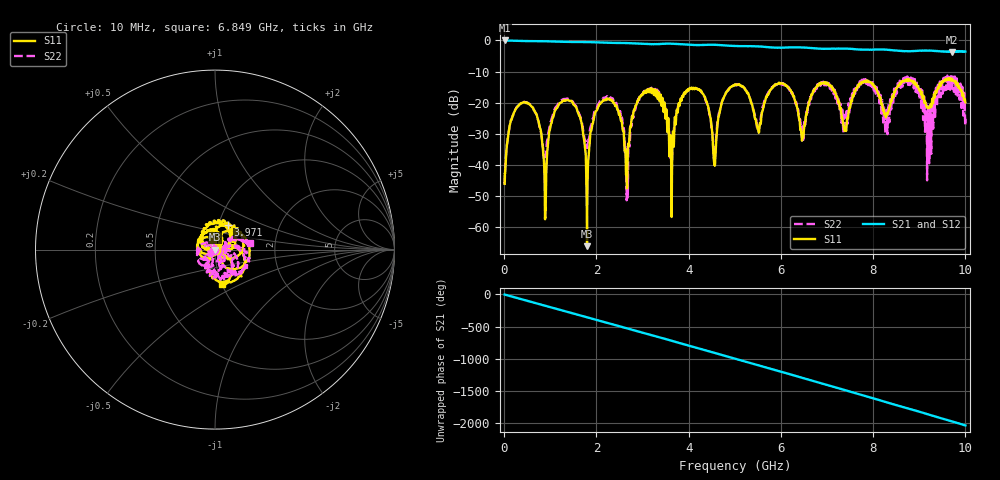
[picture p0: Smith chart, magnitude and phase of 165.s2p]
!Keysight Technologies,E5080B,MY59205177,A.15.75.32
!Date: Friday, February 23, 2024 03:42:39
!Correction: S11(Cdelta 2-Port  )
!S21(Cdelta 2-Port  )
!S12(Cdelta 2-Port  )
!S22(Cdelta 2-Port  )
!S2P File: Measurements: S11, S21, S12, S22:
# Hz S  dB  R 50
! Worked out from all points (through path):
!   10001 points, 10 MHz to 10 GHz, reference 50 ohm
!   highest |S21| = -0.01 dB at 10 MHz (marker M1); lowest = -3.7 dB at 9.701 GHz (marker M2)
!   group delay of S21, straight-line fit = 566 ps
!   lowest |S11| = -66.2 dB at 1.797 GHz (marker M3), VSWR 1.00, Z = 50 + j0.0489 ohm
!   |S11| at or under -10 dB: start of sweep to end of sweep
!   |S22| runs from -51.4 to -11.1 dB; largest |S21 - S12| = 0.0015
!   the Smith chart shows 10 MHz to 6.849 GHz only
!   S11 on the Smith chart (normalised r, x): 10 MHz: 1.01, -0.00; 3.971 GHz: 1.11, +0.31; 6.849 GHz: 0.99, -0.41
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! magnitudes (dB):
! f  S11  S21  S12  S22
! 10 MHz  -46.1  0.0  0.0  -45.9
! 372.6 MHz  -20.1  -0.2  -0.2  -20.1
! 888.1 MHz  -56.8  -0.3  -0.3  -37.3
! 1.175 GHz  -20.8  -0.4  -0.4  -20.3
! 1.675 GHz  -26.3  -0.5  -0.5  -25.7
! 1.797 GHz  -66.2  -0.5  -0.5  -33.5
! 2.108 GHz  -19.8  -0.7  -0.7  -19.0
! 2.664 GHz  -47.6  -0.9  -0.9  -43.2
! 2.907 GHz  -19.3  -1.0  -1.0  -18.8
! 3.341 GHz  -17.5  -1.1  -1.1  -17.6
! 3.627 GHz  -47.0  -1.1  -1.1  -41.6
! 3.971 GHz  -16.3  -1.3  -1.3  -16.0
! 4.562 GHz  -40.1  -1.4  -1.4  -38.4
! 5.005 GHz  -14.1  -1.8  -1.8  -14.4
! 5.515 GHz  -29.3  -1.9  -1.9  -28.8
! 6.107 GHz  -14.6  -2.3  -2.3  -14.7
! 6.464 GHz  -31.8  -2.3  -2.3  -27.8
! 6.67 GHz  -17.4  -2.5  -2.5  -17.0
! 6.849 GHz  -14.0  -2.7  -2.7  -14.2
! 8.336 GHz  -22.6  -3.0  -3.1  -20.9
! 9.701 GHz  -12.3  -3.7  -3.7  -13.8
! 10 GHz  -19.9  -3.6  -3.6  -25.2
